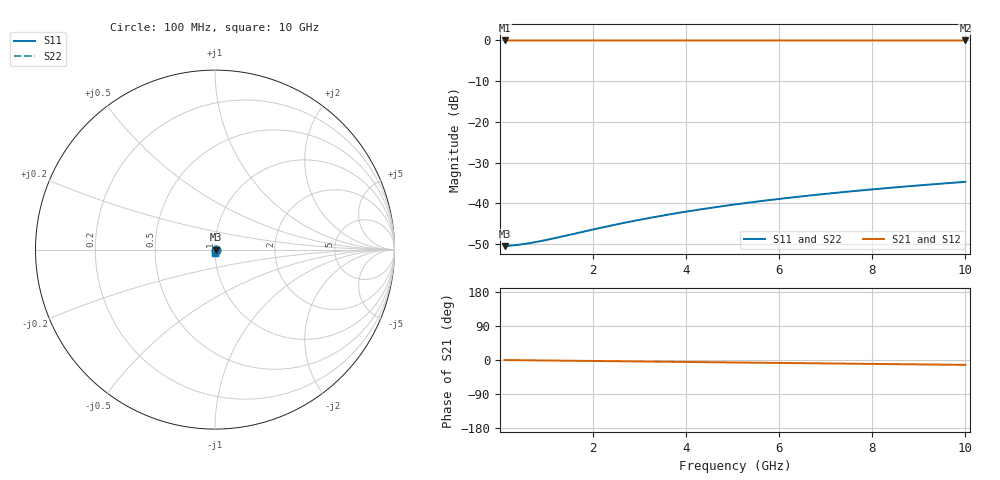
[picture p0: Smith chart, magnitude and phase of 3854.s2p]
# Hz S RI R 50.00
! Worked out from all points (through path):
!   100 points, 100 MHz to 10 GHz, reference 50 ohm
!   highest |S21| = -0.03 dB at 100 MHz (marker M1); lowest = 0.0 dB at 10 GHz (marker M2)
!   group delay of S21, straight-line fit = 3.58 ps
!   lowest |S11| = -50.5 dB at 100 MHz (marker M3), VSWR 1.01, Z = 50.3 - j0.019 ohm
!   |S11| at or under -10 dB: start of sweep to end of sweep
!   |S22| runs from -50.5 to -34.7 dB; largest |S21 - S12| = 0
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1e8  0.00298 -0.000188  0.997 -0.00224  0.997 -0.00224  0.00298 -0.000188
3e8  0.00301 -0.000565  0.997 -0.00673  0.997 -0.00673  0.00301 -0.000565
4e8  0.00302 -0.000754  0.9969 -0.00897  0.9969 -0.00897  0.00302 -0.000754
6e8  0.00303 -0.00113  0.9969 -0.0135  0.9969 -0.0135  0.00303 -0.00113
8e8  0.00303 -0.00151  0.9968 -0.0179  0.9968 -0.0179  0.00303 -0.00151
1e9  0.00302 -0.00189  0.9967 -0.0224  0.9967 -0.0224  0.00302 -0.00189
1.2e9  0.00301 -0.00226  0.9965 -0.0269  0.9965 -0.0269  0.00301 -0.00226
1.8e9  0.00296 -0.00339  0.996 -0.0403  0.996 -0.0403  0.00296 -0.00339
2.2e9  0.00291 -0.00415  0.9956 -0.0493  0.9956 -0.0493  0.00291 -0.00415
2.6e9  0.00284 -0.0049  0.9951 -0.0583  0.9951 -0.0583  0.00284 -0.0049
3e9  0.00276 -0.00565  0.9945 -0.0672  0.9945 -0.0672  0.00276 -0.00565
3.4e9  0.00266 -0.0064  0.9938 -0.0762  0.9938 -0.0762  0.00266 -0.0064
3.8e9  0.00255 -0.00714  0.9931 -0.0851  0.9931 -0.0851  0.00255 -0.00714
4.2e9  0.00242 -0.00789  0.9923 -0.094  0.9923 -0.094  0.00242 -0.00789
4.6e9  0.00228 -0.00863  0.9914 -0.103  0.9914 -0.103  0.00228 -0.00863
5.1e9  0.00209 -0.00956  0.9901 -0.1141  0.9901 -0.1141  0.00209 -0.00956
5.9e9  0.00174 -0.011  0.9878 -0.1319  0.9878 -0.1319  0.00174 -0.011
6.7e9  0.00134 -0.0125  0.9853 -0.1497  0.9853 -0.1497  0.00134 -0.0125
7.5e9  0.000886 -0.0139  0.9823 -0.1674  0.9823 -0.1674  0.000886 -0.0139
8.4e9  0.000313 -0.0156  0.9787 -0.1872  0.9787 -0.1872  0.000313 -0.0156
9.2e9  -0.00025 -0.017  0.9751 -0.2048  0.9751 -0.2048  -0.00025 -0.017
1e10  -0.000864 -0.0184  0.9712 -0.2224  0.9712 -0.2224  -0.000864 -0.0184
